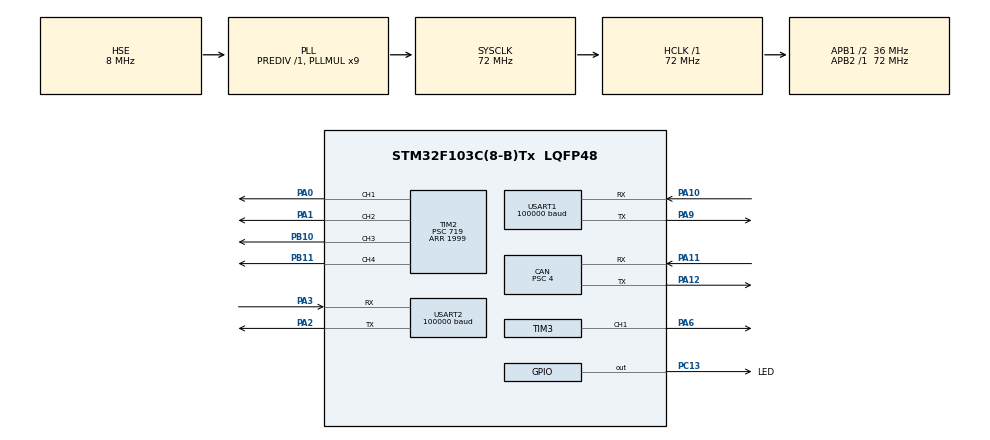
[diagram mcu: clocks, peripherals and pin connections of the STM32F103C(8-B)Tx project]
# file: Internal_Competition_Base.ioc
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CAN.BS1=CAN_BS1_6TQ
CAN.BS2=CAN_BS2_2TQ
CAN.CalculateTimeBit=999.99
CAN.CalculateTimeQuantum=111.11111111111111
CAN.NART=DISABLE
CAN.Prescaler=4
Dma.Request0=USART1_RX
Dma.USART1_RX.0.Direction=DMA_PERIPH_TO_MEMORY
Dma.USART1_RX.0.Instance=DMA1_Channel5
Dma.USART1_RX.0.MemDataAlignment=DMA_MDATAALIGN_BYTE
Dma.USART1_RX.0.MemInc=DMA_MINC_ENABLE
Dma.USART1_RX.0.Mode=DMA_CIRCULAR
Dma.USART1_RX.0.PeriphDataAlignment=DMA_PDATAALIGN_BYTE
Dma.USART1_RX.0.PeriphInc=DMA_PINC_DISABLE
Dma.USART1_RX.0.Priority=DMA_PRIORITY_VERY_HIGH
Mcu.Family=STM32F1
Mcu.Name=STM32F103C(8-B)Tx
Mcu.Package=LQFP48
NVIC.CAN1_RX1_IRQn=true\:0\:0\:false\:false\:true\:true\:true
NVIC.DMA1_Channel5_IRQn=true\:0\:0\:false\:false\:true\:false\:true
NVIC.PriorityGroup=NVIC_PRIORITYGROUP_4
PA0-WKUP.Signal=S_TIM2_CH1_ETR
PA1.Signal=S_TIM2_CH2
PA10.Mode=Asynchronous
PA10.Signal=USART1_RX
PA11.Mode=Master
PA11.Signal=CAN_RX
PA12.Mode=Master
PA12.Signal=CAN_TX
PA13.Mode=Serial_Wire
PA13.Signal=SYS_JTMS-SWDIO
PA14.Mode=Serial_Wire
PA14.Signal=SYS_JTCK-SWCLK
PA2.Mode=Asynchronous
PA2.Signal=USART2_TX
PA3.Mode=Asynchronous
PA3.Signal=USART2_RX
PA6.Signal=S_TIM3_CH1
PA9.Mode=Asynchronous
PA9.Signal=USART1_TX
PB10.Signal=S_TIM2_CH3
PB11.Signal=S_TIM2_CH4
PC13-TAMPER-RTC.GPIO_Label=LED
PC13-TAMPER-RTC.GPIO_Speed=GPIO_SPEED_FREQ_MEDIUM
PC13-TAMPER-RTC.Signal=GPIO_Output
PD0-OSC_IN.Mode=HSE-External-Oscillator
PD0-OSC_IN.Signal=RCC_OSC_IN
PD1-OSC_OUT.Mode=HSE-External-Oscillator
PD1-OSC_OUT.Signal=RCC_OSC_OUT
ProjectManager.HeapSize=0x200
ProjectManager.StackSize=0x400
ProjectManager.TargetToolchain=Makefile
RCC.AHBFreq_Value=72000000
RCC.APB1CLKDivider=RCC_HCLK_DIV2
RCC.APB1Freq_Value=36000000
RCC.APB1TimFreq_Value=72000000
RCC.APB2Freq_Value=72000000
RCC.APB2TimFreq_Value=72000000
RCC.HCLKFreq_Value=72000000
RCC.PLLMUL=RCC_PLL_MUL9
RCC.PLLSourceVirtual=RCC_PLLSOURCE_HSE
RCC.SYSCLKFreq_VALUE=72000000
RCC.SYSCLKSource=RCC_SYSCLKSOURCE_PLLCLK
RCC.USBFreq_Value=72000000
SH.S_TIM2_CH1_ETR.0=TIM2_CH1,PWM Generation1 CH1
SH.S_TIM2_CH2.0=TIM2_CH2,PWM Generation2 CH2
SH.S_TIM2_CH3.0=TIM2_CH3,PWM Generation3 CH3
SH.S_TIM2_CH4.0=TIM2_CH4,PWM Generation4 CH4
SH.S_TIM3_CH1.0=TIM3_CH1,PWM Generation1 CH1
TIM2.Channel-PWM\ Generation1\ CH1=TIM_CHANNEL_1
TIM2.Channel-PWM\ Generation2\ CH2=TIM_CHANNEL_2
TIM2.Channel-PWM\ Generation3\ CH3=TIM_CHANNEL_3
TIM2.Channel-PWM\ Generation4\ CH4=TIM_CHANNEL_4
TIM2.Period=1999
TIM2.Prescaler=719
TIM3.Channel-PWM\ Generation1\ CH1=TIM_CHANNEL_1
TIM3.Period=1999
TIM3.Prescaler=719
USART1.BaudRate=100000
USART1.Parity=PARITY_EVEN
USART1.VirtualMode=VM_ASYNC
USART2.BaudRate=100000
USART2.Parity=PARITY_EVEN
USART2.VirtualMode=VM_ASYNC
VP_TIM2_VS_ClockSourceINT.Mode=Internal
VP_TIM3_VS_ClockSourceINT.Mode=Internal
board=custom

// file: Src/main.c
/* USER CODE BEGIN Header */
/**
 ******************************************************************************
 * @file           : main.c
 * @brief          : Main program body
 ******************************************************************************
 * @attention
 *
 * <h2><center>&copy; Copyright (c) 2021 STMicroelectronics.
 * All rights reserved.</center></h2>
 *
 * This software component is licensed by ST under BSD 3-Clause license,
 * the "License"; You may not use this file except in compliance with the
 * License. You may obtain a copy of the License at:
 *                        opensource.org/licenses/BSD-3-Clause
 *
 ******************************************************************************
 */
/* USER CODE END Header */

#include "main.h"

/* USER CODE BEGIN PD */
// #define kp 5
// #define ki 0.1
// #define kd 2
#define i_max 6000
#define out_max 18000
/* USER CODE END PD */

CAN_HandleTypeDef hcan;

TIM_HandleTypeDef htim2;
TIM_HandleTypeDef htim3;

UART_HandleTypeDef huart1;
UART_HandleTypeDef huart2;
DMA_HandleTypeDef hdma_usart1_rx;

/* USER CODE BEGIN PV */
uint8_t msg[8] = {4, 0, 4, 0, 4, 0, 4, 0};                   // CAN Bus Send Buffer
static volatile uint8_t canRX[8] = {0, 0, 0, 0, 0, 0, 0, 0}; // CAN Bus Receive Buffer
static CAN_TxHeaderTypeDef txHeader;                                // CAN Bus Receive Header
static CAN_RxHeaderTypeDef rxHeader;                         // CAN Bus Transmit Header
uint8_t dbus_rx_buffer[18]={0}; // receiver data buffer
RC_Ctl_t RC_CtrlData; // dbus channel typeder
static volatile HAL_StatusTypeDef canTxStatus = HAL_OK;
static volatile HAL_StatusTypeDef canRxStatus = HAL_OK;
uint32_t canMailbox;
uint16_t target = 600;
static volatile int16_t target_A=1200, target_B=-900, target_C=-600, target_D=850;
int vf=0,vr=150,vz=0,vg=150;
// static volatile int16_t target_A=0, target_B=0, target_C=0, target_D=0;
//A=-2, B=1.5, C=1. D=-17/12
static volatile int16_t current_rpm_A,current_rpm_B,current_rpm_C,current_rpm_D;
pid_struct_t motorA, motorB, motorC, motorD;
arm_struct_t arm;
/* USER CODE END PV */

void SystemClock_Config(void);
static void MX_GPIO_Init(void);
static void MX_USART2_UART_Init(void);
static void MX_DMA_Init(void);
static void MX_CAN_Init(void);
static void MX_USART1_UART_Init(void);
static void MX_TIM2_Init(void);
static void MX_TIM3_Init(void);
/* USER CODE BEGIN PFP */
void CAN_Set_Motor_Voltage(int16_t v1_, int16_t v2_, int16_t v3_, int16_t v4_, uint8_t target_buffer[]);
void Integrate_Control();
/* USER CODE END PFP */

int main(void)
{

  /* MCU Configuration--------------------------------------------------------*/

  /* Reset of all peripherals, Initializes the Flash interface and the Systick. */
  HAL_Init();

  /* Configure the system clock */
  SystemClock_Config();

  /* Initialize all configured peripherals */
  MX_GPIO_Init();
  MX_USART2_UART_Init();
  MX_DMA_Init();
  MX_CAN_Init();
  MX_USART1_UART_Init();
  MX_TIM2_Init();
  MX_TIM3_Init();
  /* USER CODE BEGIN 2 */
  CAN_FilterTypeDef canfil; // CAN Bus Filter

  canfil.FilterBank = 0;
  canfil.FilterMode = CAN_FILTERMODE_IDMASK;
  canfil.FilterFIFOAssignment = CAN_RX_FIFO1;
  canfil.FilterIdHigh = 0;
  canfil.FilterIdLow = 0;
  canfil.FilterMaskIdHigh = 0;
  canfil.FilterMaskIdLow = 0;
  canfil.FilterScale = CAN_FILTERSCALE_32BIT;
  canfil.FilterActivation = ENABLE;
  canfil.SlaveStartFilterBank = 14;

  txHeader.DLC = 8; // Number of bites to be transmitted max- 8
  txHeader.IDE = CAN_ID_STD;
  txHeader.RTR = CAN_RTR_DATA;
  txHeader.StdId = 0x200;
  txHeader.ExtId = 0x0;
  txHeader.TransmitGlobalTime = DISABLE;

  HAL_CAN_ConfigFilter(&hcan, &canfil);
  HAL_CAN_Start(&hcan);
  HAL_TIM_PWM_Start(&htim2, TIM_CHANNEL_1);
  HAL_TIM_PWM_Start(&htim2, TIM_CHANNEL_2);
  HAL_TIM_PWM_Start(&htim2, TIM_CHANNEL_3);
  HAL_TIM_PWM_Start(&htim2, TIM_CHANNEL_4);
  HAL_TIM_PWM_Start(&htim3, TIM_CHANNEL_1);
  // HAL_CAN_ActivateNotification(&hcan, CAN_IT_RX_FIFO1_MSG_PENDING);
  // HAL_CAN_GetRxMessage(&hcan, CAN_RX_FIFO0, &rxHeader, (uint8_t *)canRX);
  pid_init(&motorA, 5, 0.05, 0, 8000, 16000);
  pid_init(&motorB, 8, 1.5, 0, 8000, 16000);
  pid_init(&motorC, 8, 1.5, 0, 8000, 16000);
  pid_init(&motorD, 8, 1, 0, 8000, 16000);
  arm_init(&arm, 150, 150, 160, 150);
  HAL_UART_Receive_DMA(&huart1, dbus_rx_buffer, 18);
  /* USER CODE END 2 */

  /* Infinite loop */
  while (1)
  {

    /* USER CODE BEGIN 3 */

    canRxStatus = HAL_CAN_GetRxMessage(&hcan, CAN_RX_FIFO1, &rxHeader, (uint8_t *)canRX);
    switch(rxHeader.StdId){
      case 0x201:{
        current_rpm_A = -(1+~((canRX[2]<<8)+canRX[3]));
        break;
      }
      case 0x202:{
        current_rpm_B = -(1+~((canRX[2]<<8)+canRX[3]));
        break;
      }
      case 0x203:{
        current_rpm_C = -(1+~((canRX[2]<<8)+canRX[3]));
        break;
      }
      case 0x204:{
        current_rpm_D = -(1+~((canRX[2]<<8)+canRX[3]));
        break;
      }
    }
    // (RC_CtrlData.rc.s1>2)?vg++:vg--;
    // LIMIT_MIN_MAX(vg,150,220);
    // move_arm(&arm,vf,vr,vz,vg);
    // __HAL_TIM_SET_COMPARE(&htim2, TIM_CHANNEL_1, arm.angle[0]);
	  // __HAL_TIM_SET_COMPARE(&htim2, TIM_CHANNEL_2, arm.angle[1]>>8);
	  // // __HAL_TIM_SET_COMPARE(&htim2, TIM_CHANNEL_3, arm.angle[2]>>12);
    // __HAL_TIM_SET_COMPARE(&htim3, TIM_CHANNEL_1, arm.angle[2]>>12);
	  // __HAL_TIM_SET_COMPARE(&htim2, TIM_CHANNEL_4, arm.angle[3]);
    // for(int i=50;i<=250;i++){
    //   __HAL_TIM_SET_COMPARE(&htim2, TIM_CHANNEL_4, i);
    //   HAL_Delay(10);
    // }
    // for(int i=250;i>=50;i--){
    //   __HAL_TIM_SET_COMPARE(&htim2, TIM_CHANNEL_4, i);
    //   HAL_Delay(10);
    // }
  }
  /* USER CODE END 3 */
}

void SystemClock_Config(void)
{
  RCC_OscInitTypeDef RCC_OscInitStruct = {0};
  RCC_ClkInitTypeDef RCC_ClkInitStruct = {0};

  /** Initializes the CPU, AHB and APB busses clocks
  */
  RCC_OscInitStruct.OscillatorType = RCC_OSCILLATORTYPE_HSE;
  RCC_OscInitStruct.HSEState = RCC_HSE_ON;
  RCC_OscInitStruct.HSEPredivValue = RCC_HSE_PREDIV_DIV1;
  RCC_OscInitStruct.HSIState = RCC_HSI_ON;
  RCC_OscInitStruct.PLL.PLLState = RCC_PLL_ON;
  RCC_OscInitStruct.PLL.PLLSource = RCC_PLLSOURCE_HSE;
  RCC_OscInitStruct.PLL.PLLMUL = RCC_PLL_MUL9;
  if (HAL_RCC_OscConfig(&RCC_OscInitStruct) != HAL_OK)
  {
    Error_Handler();
  }
  /** Initializes the CPU, AHB and APB busses clocks
  */
  RCC_ClkInitStruct.ClockType = RCC_CLOCKTYPE_HCLK|RCC_CLOCKTYPE_SYSCLK
                              |RCC_CLOCKTYPE_PCLK1|RCC_CLOCKTYPE_PCLK2;
  RCC_ClkInitStruct.SYSCLKSource = RCC_SYSCLKSOURCE_PLLCLK;
  RCC_ClkInitStruct.AHBCLKDivider = RCC_SYSCLK_DIV1;
  RCC_ClkInitStruct.APB1CLKDivider = RCC_HCLK_DIV2;
  RCC_ClkInitStruct.APB2CLKDivider = RCC_HCLK_DIV1;

  if (HAL_RCC_ClockConfig(&RCC_ClkInitStruct, FLASH_LATENCY_2) != HAL_OK)
  {
    Error_Handler();
  }
}

static void MX_CAN_Init(void)
{

  hcan.Instance = CAN1;
  hcan.Init.Prescaler = 4;
  hcan.Init.Mode = CAN_MODE_NORMAL;
  hcan.Init.SyncJumpWidth = CAN_SJW_1TQ;
  hcan.Init.TimeSeg1 = CAN_BS1_6TQ;
  hcan.Init.TimeSeg2 = CAN_BS2_2TQ;
  hcan.Init.TimeTriggeredMode = DISABLE;
  hcan.Init.AutoBusOff = DISABLE;
  hcan.Init.AutoWakeUp = DISABLE;
  hcan.Init.AutoRetransmission = DISABLE;
  hcan.Init.ReceiveFifoLocked = DISABLE;
  hcan.Init.TransmitFifoPriority = DISABLE;
  if (HAL_CAN_Init(&hcan) != HAL_OK)
  {
    Error_Handler();
  }

}

static void MX_TIM2_Init(void)
{

  TIM_ClockConfigTypeDef sClockSourceConfig = {0};
  TIM_MasterConfigTypeDef sMasterConfig = {0};
  TIM_OC_InitTypeDef sConfigOC = {0};

  htim2.Instance = TIM2;
  htim2.Init.Prescaler = 719;
  htim2.Init.CounterMode = TIM_COUNTERMODE_UP;
  htim2.Init.Period = 1999;
  htim2.Init.ClockDivision = TIM_CLOCKDIVISION_DIV1;
  htim2.Init.AutoReloadPreload = TIM_AUTORELOAD_PRELOAD_DISABLE;
  if (HAL_TIM_Base_Init(&htim2) != HAL_OK)
  {
    Error_Handler();
  }
  sClockSourceConfig.ClockSource = TIM_CLOCKSOURCE_INTERNAL;
  if (HAL_TIM_ConfigClockSource(&htim2, &sClockSourceConfig) != HAL_OK)
  {
    Error_Handler();
  }
  if (HAL_TIM_PWM_Init(&htim2) != HAL_OK)
  {
    Error_Handler();
  }
  sMasterConfig.MasterOutputTrigger = TIM_TRGO_RESET;
  sMasterConfig.MasterSlaveMode = TIM_MASTERSLAVEMODE_DISABLE;
  if (HAL_TIMEx_MasterConfigSynchronization(&htim2, &sMasterConfig) != HAL_OK)
  {
    Error_Handler();
  }
  sConfigOC.OCMode = TIM_OCMODE_PWM1;
  sConfigOC.Pulse = 0;
  sConfigOC.OCPolarity = TIM_OCPOLARITY_HIGH;
  sConfigOC.OCFastMode = TIM_OCFAST_DISABLE;
  if (HAL_TIM_PWM_ConfigChannel(&htim2, &sConfigOC, TIM_CHANNEL_1) != HAL_OK)
  {
    Error_Handler();
  }
  if (HAL_TIM_PWM_ConfigChannel(&htim2, &sConfigOC, TIM_CHANNEL_2) != HAL_OK)
  {
    Error_Handler();
  }
  if (HAL_TIM_PWM_ConfigChannel(&htim2, &sConfigOC, TIM_CHANNEL_3) != HAL_OK)
  {
    Error_Handler();
  }
  if (HAL_TIM_PWM_ConfigChannel(&htim2, &sConfigOC, TIM_CHANNEL_4) != HAL_OK)
  {
    Error_Handler();
  }
  HAL_TIM_MspPostInit(&htim2);

}

static void MX_TIM3_Init(void)
{

  TIM_ClockConfigTypeDef sClockSourceConfig = {0};
  TIM_MasterConfigTypeDef sMasterConfig = {0};
  TIM_OC_InitTypeDef sConfigOC = {0};

  htim3.Instance = TIM3;
  htim3.Init.Prescaler = 719;
  htim3.Init.CounterMode = TIM_COUNTERMODE_UP;
  htim3.Init.Period = 1999;
  htim3.Init.ClockDivision = TIM_CLOCKDIVISION_DIV1;
  htim3.Init.AutoReloadPreload = TIM_AUTORELOAD_PRELOAD_DISABLE;
  if (HAL_TIM_Base_Init(&htim3) != HAL_OK)
  {
    Error_Handler();
  }
  sClockSourceConfig.ClockSource = TIM_CLOCKSOURCE_INTERNAL;
  if (HAL_TIM_ConfigClockSource(&htim3, &sClockSourceConfig) != HAL_OK)
  {
    Error_Handler();
  }
  if (HAL_TIM_PWM_Init(&htim3) != HAL_OK)
  {
    Error_Handler();
  }
  sMasterConfig.MasterOutputTrigger = TIM_TRGO_RESET;
  sMasterConfig.MasterSlaveMode = TIM_MASTERSLAVEMODE_DISABLE;
  if (HAL_TIMEx_MasterConfigSynchronization(&htim3, &sMasterConfig) != HAL_OK)
  {
    Error_Handler();
  }
  sConfigOC.OCMode = TIM_OCMODE_PWM1;
  sConfigOC.Pulse = 0;
  sConfigOC.OCPolarity = TIM_OCPOLARITY_HIGH;
  sConfigOC.OCFastMode = TIM_OCFAST_DISABLE;
  if (HAL_TIM_PWM_ConfigChannel(&htim3, &sConfigOC, TIM_CHANNEL_1) != HAL_OK)
  {
    Error_Handler();
  }
  HAL_TIM_MspPostInit(&htim3);

}

static void MX_USART1_UART_Init(void)
{

  huart1.Instance = USART1;
  huart1.Init.BaudRate = 100000;
  huart1.Init.WordLength = UART_WORDLENGTH_8B;
  huart1.Init.StopBits = UART_STOPBITS_1;
  huart1.Init.Parity = UART_PARITY_EVEN;
  huart1.Init.Mode = UART_MODE_TX_RX;
  huart1.Init.HwFlowCtl = UART_HWCONTROL_NONE;
  huart1.Init.OverSampling = UART_OVERSAMPLING_16;
  if (HAL_UART_Init(&huart1) != HAL_OK)
  {
    Error_Handler();
  }

}

static void MX_USART2_UART_Init(void)
{

  huart2.Instance = USART2;
  huart2.Init.BaudRate = 100000;
  huart2.Init.WordLength = UART_WORDLENGTH_8B;
  huart2.Init.StopBits = UART_STOPBITS_1;
  huart2.Init.Parity = UART_PARITY_EVEN;
  huart2.Init.Mode = UART_MODE_TX_RX;
  huart2.Init.HwFlowCtl = UART_HWCONTROL_NONE;
  huart2.Init.OverSampling = UART_OVERSAMPLING_16;
  if (HAL_UART_Init(&huart2) != HAL_OK)
  {
    Error_Handler();
  }

}

static void MX_DMA_Init(void)
{

  /* DMA controller clock enable */
  __HAL_RCC_DMA1_CLK_ENABLE();

  /* DMA interrupt init */
  /* DMA1_Channel5_IRQn interrupt configuration */
  HAL_NVIC_SetPriority(DMA1_Channel5_IRQn, 0, 0);
  HAL_NVIC_EnableIRQ(DMA1_Channel5_IRQn);

}

static void MX_GPIO_Init(void)
{
  GPIO_InitTypeDef GPIO_InitStruct = {0};

  /* GPIO Ports Clock Enable */
  __HAL_RCC_GPIOC_CLK_ENABLE();
  __HAL_RCC_GPIOD_CLK_ENABLE();
  __HAL_RCC_GPIOA_CLK_ENABLE();
  __HAL_RCC_GPIOB_CLK_ENABLE();

  /*Configure GPIO pin Output Level */
  HAL_GPIO_WritePin(LED_GPIO_Port, LED_Pin, GPIO_PIN_RESET);

  /*Configure GPIO pin : LED_Pin */
  GPIO_InitStruct.Pin = LED_Pin;
  GPIO_InitStruct.Mode = GPIO_MODE_OUTPUT_PP;
  GPIO_InitStruct.Pull = GPIO_NOPULL;
  GPIO_InitStruct.Speed = GPIO_SPEED_FREQ_MEDIUM;
  HAL_GPIO_Init(LED_GPIO_Port, &GPIO_InitStruct);

}

/* USER CODE BEGIN 4 */
void HAL_UART_RxCpltCallback(UART_HandleTypeDef * huart)
{
			if(dbus_rx_buffer == NULL)
			{
			  return;
			}
			RC_CtrlData.rc.ch0 = ((int16_t)dbus_rx_buffer[0] | ((int16_t)dbus_rx_buffer[1] << 8)) & 0x07FF;
			RC_CtrlData.rc.ch1 = (((int16_t)dbus_rx_buffer[1] >> 3) | ((int16_t)dbus_rx_buffer[2] << 5))& 0x07FF;
			RC_CtrlData.rc.ch2 = (((int16_t)dbus_rx_buffer[2] >> 6) | ((int16_t)dbus_rx_buffer[3] << 2) |((int16_t)dbus_rx_buffer[4] << 10)) & 0x07FF;
			RC_CtrlData.rc.ch3 = (((int16_t)dbus_rx_buffer[4] >> 1) | ((int16_t)dbus_rx_buffer[5]<<7)) &0x07FF;
 		  RC_CtrlData.rc.s1 = ((dbus_rx_buffer[5] >> 4) & 0x000C) >> 2;
   		RC_CtrlData.rc.s2 = ((dbus_rx_buffer[5] >> 4) & 0x0003);
			// RC_CtrlData.mouse.x = ((int16_t)dbus_rx_buffer[6]) | ((int16_t)dbus_rx_buffer[7] << 8);
			// RC_CtrlData.mouse.y = ((int16_t)dbus_rx_buffer[8]) | ((int16_t)dbus_rx_buffer[9] << 8);
			// RC_CtrlData.mouse.z = ((int16_t)dbus_rx_buffer[10]) | ((int16_t)dbus_rx_buffer[11] << 8);
			// RC_CtrlData.mouse.press_l = dbus_rx_buffer[12];
			// RC_CtrlData.mouse.press_r = dbus_rx_buffer[13];
			// RC_CtrlData.key.v = ((int16_t)dbus_rx_buffer[14]);// | ((int16_t)pData[15] << 8);
			//HAL_UART_Receive_IT(&huart3, dbus_rx_buffer, 18);
			//HAL_UART_Receive_DMA(&huart3, dbus_rx_buffer, 18);
      Integrate_Control();
}
// void HAL_CAN_RxFIFO1MsgPendingCallback(CAN_HandleTypeDef *hcan){
//   for(int i=0;i<6;i++){
//     HAL_GPIO_TogglePin(GPIOC, GPIO_PIN_13);
//     HAL_Delay(200);
//   }
//   if (HAL_CAN_GetRxMessage(hcan, CAN_RX_FIFO1, &rxHeader, (uint8_t *)canRX) != HAL_OK){
//     Error_Handler();
//     HAL_CAN_ActivateNotification(hcan, CAN_IT_RX_FIFO1_MSG_PENDING);
//     canRxStatus = HAL_ERROR;
//   }
//   else{
//     // HAL_CAN_ActivateNotification(&hcan, CAN_IT_RX_FIFO1_MSG_PENDING);
//     switch(rxHeader.StdId){
//       case 0x201:{
//         current_rpm_A = -(1+~((canRX[2]<<8)+canRX[3]));
//         break;
//       }
//       case 0x202:{
//         current_rpm_B = -(1+~((canRX[2]<<8)+canRX[3]));
//         break;
//       }
//       case 0x203:{
//         current_rpm_C = -(1+~((canRX[2]<<8)+canRX[3]));
//         break;
//       }
//       case 0x204:{
//         current_rpm_D = -(1+~((canRX[2]<<8)+canRX[3]));
//         break;
//       }
//     }
//     CAN_Set_Motor_Voltage(pid_calc(&motorA,target_A,current_rpm_A),
//                           pid_calc(&motorB,target_B,current_rpm_B),
//                           pid_calc(&motorC,target_C,current_rpm_C),
//                           pid_calc(&motorD,target_D,current_rpm_D),
//                           msg);
//     canTxStatus = HAL_CAN_AddTxMessage(hcan, &txHeader, msg, &canMailbox);
//     HAL_Delay(5);
//     canRxStatus = HAL_OK;
//   }
// }
/*
void HAL_CAN_RxFIFO1FullCallback(CAN_HandleTypeDef *hcan){
  for(int i=0;i<6;i++){
    HAL_GPIO_TogglePin(GPIOC, GPIO_PIN_13);
    HAL_Delay(200);
  }
  if (HAL_CAN_GetRxMessage(hcan, CAN_RX_FIFO1, &rxHeader, (uint8_t *)canRX) != HAL_OK){
    Error_Handler();
    HAL_CAN_ActivateNotification(hcan, CAN_IT_RX_FIFO1_MSG_PENDING);
    canRxStatus = HAL_ERROR;
  }
  else{
    switch(rxHeader.StdId){
      case 0x201:{
        current_rpm_A = -(1+~((canRX[2]<<8)+canRX[3]));
        break;
      }
      case 0x202:{
        current_rpm_B = -(1+~((canRX[2]<<8)+canRX[3]));
        break;
      }
      case 0x203:{
        current_rpm_C = -(1+~((canRX[2]<<8)+canRX[3]));
        break;
      }
      case 0x204:{
        current_rpm_D = -(1+~((canRX[2]<<8)+canRX[3]));
        break;
      }
    }
    CAN_Set_Motor_Voltage(pid_calc(&motorA,target_A,current_rpm_A),
                          pid_calc(&motorB,target_B,current_rpm_B),
                          pid_calc(&motorC,target_C,current_rpm_C),
                          pid_calc(&motorD,target_D,current_rpm_D),
                          msg);
    canTxStatus = HAL_CAN_AddTxMessage(hcan, &txHeader, msg, &canMailbox);
    HAL_Delay(5);
    canRxStatus = HAL_OK;
    HAL_CAN_ActivateNotification(&hcan, CAN_IT_RX_FIFO1_MSG_PENDING);
  }
} */
void CAN_Set_Motor_Voltage(int16_t v1_, int16_t v2_, int16_t v3_, int16_t v4_, uint8_t target_buffer[]){
  uint16_t v1=v1_,v2=v2_,v3=v3_,v4=v4_;
  target_buffer[0] = v1 >> 8;
  target_buffer[1] = v1;
  target_buffer[2] = v2 >> 8;
  target_buffer[3] = v2;
  target_buffer[4] = v3 >> 8;
  target_buffer[5] = v3;
  target_buffer[6] = v4 >> 8;
  target_buffer[7] = v4;
  return;
}
void Integrate_Control(){
      int vv,vp,vr;
      vv=(RC_CtrlData.rc.ch3-1024)*5;
      vp=(RC_CtrlData.rc.ch2-1024)*5;
      vr=(RC_CtrlData.rc.ch0-1024)*3;
      vr-=vp*0.04;
      target_A=(vv+vp+vr)*(1.8);
      target_B=(vv-vp-vr)*(-1.7);
      target_C=(vv+vp-vr)*(-1);
      target_D=(vv-vp+vr)*(1.5);
      CAN_Set_Motor_Voltage(pid_calc(&motorA,target_A,current_rpm_A),
                          pid_calc(&motorB,target_B,current_rpm_B),
                          pid_calc(&motorC,target_C,current_rpm_C),
                          pid_calc(&motorD,target_D,current_rpm_D),
                          msg);
     canTxStatus = HAL_CAN_AddTxMessage(&hcan, &txHeader, msg, &canMailbox);
  // switch(RC_CtrlData.rc.s2){
  //   case 1:{
  //     //A=2, B=-1.5, C=-1. D=17/12
  //     int vv,vp,vr;
  //     vv=(RC_CtrlData.rc.ch3-1024)*4;
  //     vp=(RC_CtrlData.rc.ch2-1024)*4;
  //     vr=(RC_CtrlData.rc.ch0-1024)*4;
  //     vr-=vp*0.04;
  //     target_A=(vv+vp+vr)*(1.8);
  //     target_B=(vv-vp-vr)*(-1.7);
  //     target_C=(vv+vp-vr)*(-1);
  //     target_D=(vv-vp+vr)*(1.5);
  //     CAN_Set_Motor_Voltage(pid_calc(&motorA,target_A,current_rpm_A),
  //                         pid_calc(&motorB,target_B,current_rpm_B),
  //                         pid_calc(&motorC,target_C,current_rpm_C),
  //                         pid_calc(&motorD,target_D,current_rpm_D),
  //                         msg);
  //     canTxStatus = HAL_CAN_AddTxMessage(&hcan, &txHeader, msg, &canMailbox);
  //     break;
  //   }
  //   case 3:{
  //     int vp=(RC_CtrlData.rc.ch0-1024)*0.2;
  //     target_A=vp*(1.8);
  //     target_B=vp*(1.7);
  //     target_C=vp*(-1);
  //     target_D=vp*(-1.5);
  //     CAN_Set_Motor_Voltage(pid_calc(&motorA,target_A,current_rpm_A),
  //                         pid_calc(&motorB,target_B,current_rpm_B),
  //                         pid_calc(&motorC,target_C,current_rpm_C),
  //                         pid_calc(&motorD,target_D,current_rpm_D),
  //                         msg);
  //     canTxStatus = HAL_CAN_AddTxMessage(&hcan, &txHeader, msg, &canMailbox);
  //     vf=(RC_CtrlData.rc.ch3>1034)?1:((RC_CtrlData.rc.ch3<1014)?-1:0);
  //     vr=(RC_CtrlData.rc.ch2>1034)?130:((RC_CtrlData.rc.ch2<1014)?170:150);
  //     vz=(RC_CtrlData.rc.ch1>1034)?1:((RC_CtrlData.rc.ch1<1014)?-1:0);
  //     break;
  //   }
  // }
}
/* USER CODE END 4 */

void Error_Handler(void)
{
}

/************************ (C) COPYRIGHT STMicroelectronics *****END OF FILE****/
